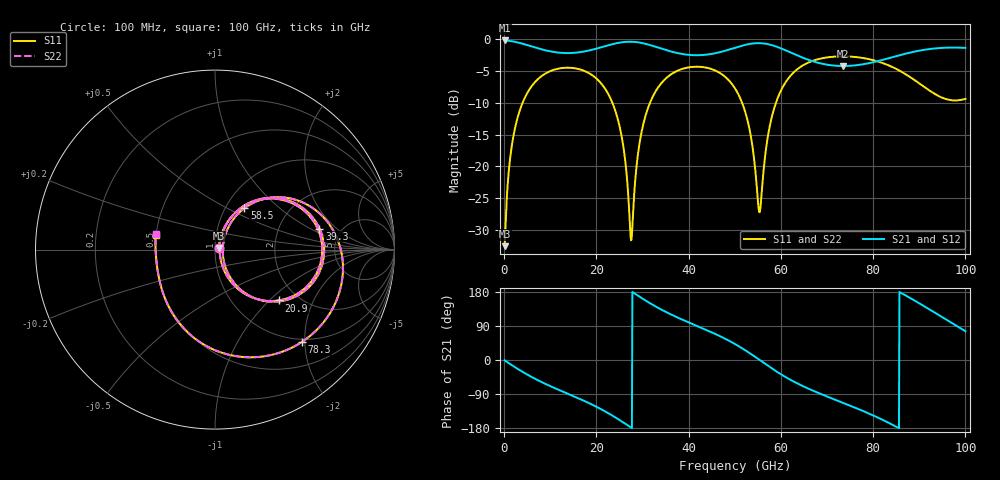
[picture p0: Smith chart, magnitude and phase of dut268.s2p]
! Touchstone file exported from HFSS 2026.1.0
!  File:  C:/ffzhzh/LocalFiles/Ansys_Project_Files/temp_train_TSV_RDL_268_1783674508_26216.aedt
!  Generated:  05:17:23 PM Jul 10, 2026
!  Design:  TSV_RDL
!  Project:  temp_train_TSV_RDL_268_1783674508_26216
! Variables:
!  h_bsmrdl = 2.25um
!  h_ox = 20um
!  h_rdl = 5um
!  h_sub = 88.84um
!  h_tmrdl = 2.11um
!  h_tsv = 88.84um
!  h_via = 3um
!  l_bsmrdl = 347.92um
!  l_sub = 1961.96um
!  l_tmrdl = 108.7um
!  m_sub = 200um
!  pitch = 41.89um
!  r_tsv = 5.16um
!  s_tmrdl = 10um
!  w_bsmrdl = 11.59um
!  w_sub = 500um
!  w_tmrdl = 16.21um
!  x_tsv_center1 = 116.805um
!  x_tsv_center2 = 476.315um
!  x_tsv_center3 = 601.225um
!  x_tsv_center4 = 960.735um
!  x_tsv_center5 = 1085.645um
!  x_tsv_center6 = 1445.155um
# GHz S MA R 50.000000
! Terminal data exported
! Port[1] = TM_RDL1_1_T1
! Port[2] = TM_RDL5_1_T1
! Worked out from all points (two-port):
!   1000 points, 100 MHz to 100 GHz, reference 50 ohm
!   highest |S21| = -0.19 dB at 100 MHz (marker M1); lowest = -4.2 dB at 73.5 GHz (marker M2)
!   |S21| within 3 dB of the highest: start of sweep to 65.81 GHz; 82.33 GHz to end of sweep
!   lowest |S11| = -32.5 dB at 100 MHz (marker M3), VSWR 1.05, Z = 52.2 + j0.924 ohm
!   |S11| at or under -10 dB: start of sweep to 3.993 GHz; 23.47 GHz to 31.62 GHz (8.147 GHz wide, 29.6 % of centre); 51.59 GHz to 58.92 GHz (7.33 GHz wide, 13.3 % of centre)
!   |S22| runs from -32.5 to -2.7 dB; largest |S21 - S12| = 1.5e-12
!   S11 on the Smith chart (normalised r, x): 100 MHz: 1.04, +0.02; 20.9 GHz: 1.60, -1.15; 39.3 GHz: 3.44, +1.24; 58.5 GHz: 1.22, +0.61; 78.3 GHz: 0.95, -1.94; 100 GHz: 0.50, +0.09
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0.1  0.02366 21.9  0.9781 -0.8  0.9781 -0.8  0.02366 21.9
! Gamma 0 0 0 0
! Port Impedance 50 0 50 0
1.7  0.1487 66.4  0.9639 -13.9  0.9639 -13.9  0.1487 66.4
4.5  0.3479 50.7  0.9109 -34.9  0.9109 -34.9  0.3479 50.7
10.9  0.5771 14.1  0.7927 -73.8  0.7927 -73.8  0.5771 14.2
16.8  0.5739 -15.7  0.7948 -104.9  0.7948 -104.9  0.5739 -15.7
20.9  0.4552 -38.5  0.8613 -129.0  0.8613 -129.0  0.4552 -38.4
25.1  0.2012 -63.6  0.941 -159.0  0.941 -159.0  0.2012 -63.4
27.5  0.02626 -7.3  0.9558 -178.1  0.9558 -178.1  0.02692 -7.0
29.8  0.1871 64.5  0.9351 163.5  0.9351 163.5  0.1872 64.3
33.4  0.4189 43.5  0.8597 137.5  0.8597 137.5  0.419 43.5
39.3  0.5939 11.4  0.7591 103.0  0.7591 103.0  0.5939 11.3
50.1  0.408 -44.9  0.8583 41.8  0.8583 41.8  0.4081 -45.0
53.1  0.204 -60.6  0.9165 19.1  0.9165 19.1  0.204 -60.7
55.3  0.04383 -7.6  0.9314 0.8  0.9314 0.8  0.04345 -7.7
58.5  0.2831 54.6  0.8883 -26.0  0.8883 -26.0  0.283 54.6
66.7  0.6723 8.0  0.6752 -79.6  0.6752 -79.6  0.6723 8.0
73.5  0.7336 -23.7  0.616 -113.1  0.616 -113.1  0.7336 -23.7
78.3  0.7069 -46.6  0.6403 -137.1  0.6403 -137.1  0.7069 -46.6
83.4  0.6224 -74.3  0.7095 -166.0  0.7095 -166.0  0.6224 -74.3
90.9  0.4264 -124.0  0.824 143.2  0.824 143.2  0.4263 -124.1
95.6  0.3405 -159.5  0.8573 108.5  0.8573 108.5  0.3404 -159.6
100  0.3401 165.7  0.8549 76.0  0.8549 76.0  0.3401 165.6
